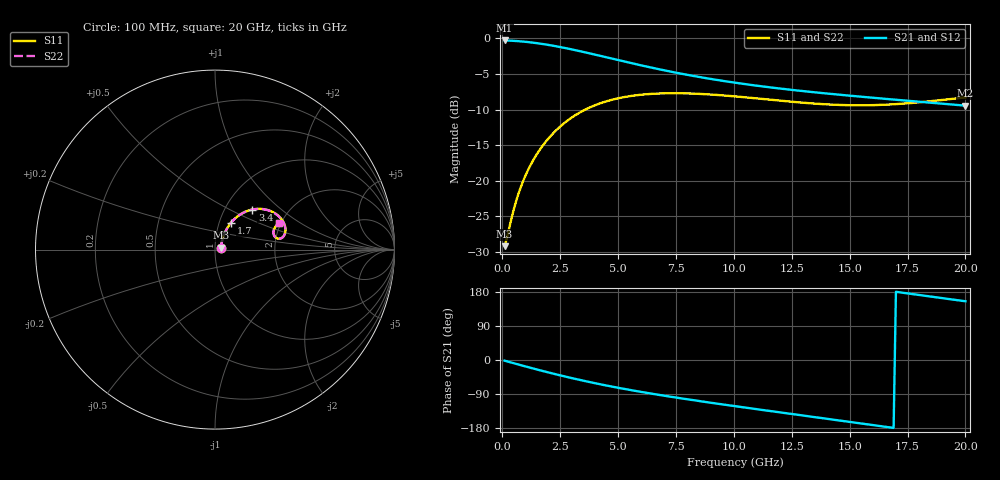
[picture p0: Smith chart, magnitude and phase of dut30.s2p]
! Touchstone file exported from HFSS 2024.1.0
!  File:  C:/UserFiles/LocalFiles/RDL_TSV_Batchsim/temp_RDL_TSV_30_1779402015.aedt
!  Generated:  06:37:15 AM May 22, 2026
!  Design:  RDL_TSV
!  Project:  temp_RDL_TSV_30_1779402015
!  Setup:  Setup1
!  Solution:  Sweep
! Variables:
!  dtsv = 5.2um
!  hbump = 3um
!  htsv = 76.69um
!  ldown = 643.23um
!  lrdl = 241.89um
!  p = 40
!  p1 = 55.5um
!  rhole = 10um
!  subl = 2897.25um
!  t = 450um
!  tdown = 2.08um
!  trdl = 2.12um
!  viad = 10um
!  wdown = 14.78um
!  wrdl = 16.24um
!  xbump = 18um
# GHz S MA R 50.000000
! Terminal data exported
! Port[1] = TM1_1_T1
! Port[2] = TM1_4_T1
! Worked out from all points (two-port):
!   200 points, 100 MHz to 20 GHz, reference 50 ohm
!   highest |S21| = -0.29 dB at 100 MHz (marker M1); lowest = -9.5 dB at 20 GHz (marker M2)
!   |S21| within 3 dB of the highest: start of sweep to 5.324 GHz
!   lowest |S11| = -29.2 dB at 100 MHz (marker M3), VSWR 1.07, Z = 53.4 + j1.09 ohm
!   |S11| at or under -10 dB: start of sweep to 3.59 GHz
!   |S22| runs from -29.2 to -7.7 dB; largest |S21 - S12| = 7.8e-15
!   S11 on the Smith chart (normalised r, x): 100 MHz: 1.07, +0.02; 1.7 GHz: 1.14, +0.35; 3.4 GHz: 1.34, +0.66; 20 GHz: 1.96, +0.67
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0.1  0.03467 17.2  0.9669 -1.7  0.9669 -1.7  0.03467 17.2
! Gamma 0 0 0 0
! Port Impedance 50 0 50 0
0.5  0.06321 51.4  0.9609 -8.6  0.9609 -8.6  0.06322 51.4
0.8  0.09025 58.0  0.9528 -13.7  0.9528 -13.7  0.09025 58.0
1.2  0.1269 60.3  0.9384 -20.3  0.9384 -20.3  0.1269 60.3
1.7  0.1723 59.4  0.9153 -28.3  0.9153 -28.3  0.1722 59.3
2.1  0.2072 57.2  0.8934 -34.5  0.8934 -34.5  0.2071 57.1
2.5  0.2402 54.4  0.8692 -40.5  0.8692 -40.5  0.24 54.3
2.9  0.2707 51.3  0.8434 -46.4  0.8434 -46.4  0.2705 51.2
3.4  0.3046 47.1  0.8099 -53.3  0.8099 -53.3  0.3043 47.0
3.5  0.3108 46.3  0.8031 -54.7  0.8031 -54.7  0.3105 46.2
4.2  0.3483 40.5  0.7558 -63.7  0.7558 -63.7  0.3479 40.4
4.9  0.376 35.0  0.7104 -72.1  0.7104 -72.1  0.3754 34.9
5.8  0.3986 28.7  0.657 -82.1  0.657 -82.1  0.3979 28.6
6.8  0.4101 22.8  0.6054 -92.4  0.6054 -92.4  0.4093 22.7
8.3  0.4089 16.1  0.5427 -106.5  0.5427 -106.5  0.4079 16.0
10.1  0.3906 11.2  0.4868 -122.3  0.4868 -122.3  0.3896 11.1
11.7  0.3689 9.6  0.4499 -135.8  0.4499 -135.8  0.3678 9.5
13.4  0.3488 10.6  0.4193 -150.0  0.4193 -150.0  0.3477 10.6
15  0.3391 13.6  0.3957 -163.3  0.3957 -163.3  0.3381 13.6
16.7  0.3429 17.6  0.374 -177.6  0.374 -177.6  0.3419 17.6
18.3  0.3592 20.6  0.3553 169.1  0.3553 169.1  0.3583 20.6
20  0.3851 22.3  0.3368 155.0  0.3368 155.0  0.3843 22.3
